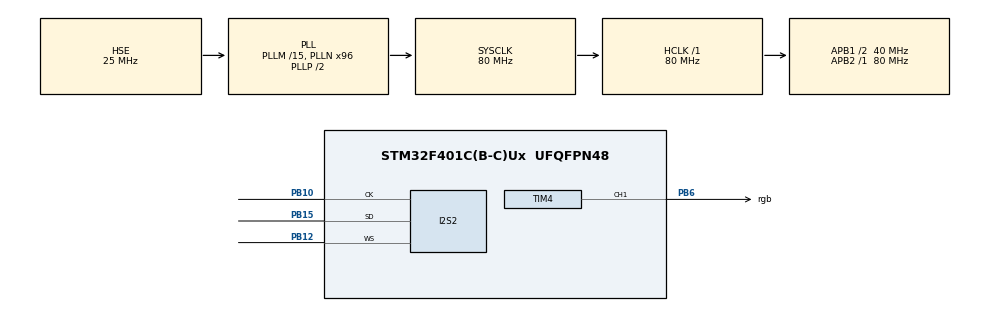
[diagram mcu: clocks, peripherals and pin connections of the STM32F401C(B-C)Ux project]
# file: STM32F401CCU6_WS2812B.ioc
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Dma.Request0=TIM4_CH1
Dma.Request1=SPI2_RX
Dma.SPI2_RX.1.Direction=DMA_PERIPH_TO_MEMORY
Dma.SPI2_RX.1.FIFOMode=DMA_FIFOMODE_DISABLE
Dma.SPI2_RX.1.Instance=DMA1_Stream3
Dma.SPI2_RX.1.MemDataAlignment=DMA_MDATAALIGN_HALFWORD
Dma.SPI2_RX.1.MemInc=DMA_MINC_ENABLE
Dma.SPI2_RX.1.Mode=DMA_CIRCULAR
Dma.SPI2_RX.1.PeriphDataAlignment=DMA_PDATAALIGN_HALFWORD
Dma.SPI2_RX.1.PeriphInc=DMA_PINC_DISABLE
Dma.SPI2_RX.1.Priority=DMA_PRIORITY_LOW
Dma.TIM4_CH1.0.Direction=DMA_MEMORY_TO_PERIPH
Dma.TIM4_CH1.0.FIFOMode=DMA_FIFOMODE_DISABLE
Dma.TIM4_CH1.0.Instance=DMA1_Stream0
Dma.TIM4_CH1.0.MemDataAlignment=DMA_MDATAALIGN_HALFWORD
Dma.TIM4_CH1.0.MemInc=DMA_MINC_ENABLE
Dma.TIM4_CH1.0.Mode=DMA_NORMAL
Dma.TIM4_CH1.0.PeriphDataAlignment=DMA_PDATAALIGN_HALFWORD
Dma.TIM4_CH1.0.PeriphInc=DMA_PINC_DISABLE
Dma.TIM4_CH1.0.Priority=DMA_PRIORITY_LOW
I2S2.AudioFreq=I2S_AUDIOFREQ_16K
I2S2.DataFormat=I2S_DATAFORMAT_16B
I2S2.ErrorAudioFreq=-0.16 %
I2S2.FullDuplexMode=I2S_FULLDUPLEXMODE_DISABLE
I2S2.Instance=SPI$Index
I2S2.Mode=I2S_MODE_MASTER_RX
I2S2.RealAudioFreq=15.974 KHz
I2S2.VirtualMode=I2S_MODE_MASTER
Mcu.Family=STM32F4
Mcu.Name=STM32F401C(B-C)Ux
Mcu.Package=UFQFPN48
NVIC.DMA1_Stream0_IRQn=true\:0\:0\:false\:false\:true\:false\:true\:true
NVIC.DMA1_Stream3_IRQn=true\:0\:0\:false\:false\:true\:false\:true\:true
NVIC.PriorityGroup=NVIC_PRIORITYGROUP_4
PB10.Mode=Half_Duplex_Master
PB10.Signal=I2S2_CK
PB12.Mode=Half_Duplex_Master
PB12.Signal=I2S2_WS
PB15.Mode=Half_Duplex_Master
PB15.Signal=I2S2_SD
PB6.GPIO_Label=rgb
PB6.Signal=S_TIM4_CH1
PC14-OSC32_IN.Mode=LSE-External-Oscillator
PC14-OSC32_IN.Signal=RCC_OSC32_IN
PC15-OSC32_OUT.Mode=LSE-External-Oscillator
PC15-OSC32_OUT.Signal=RCC_OSC32_OUT
PH0\ -\ OSC_IN.Mode=HSE-External-Oscillator
PH0\ -\ OSC_IN.Signal=RCC_OSC_IN
PH1\ -\ OSC_OUT.Mode=HSE-External-Oscillator
PH1\ -\ OSC_OUT.Signal=RCC_OSC_OUT
ProjectManager.HeapSize=0x200
ProjectManager.StackSize=0x400
ProjectManager.TargetToolchain=STM32CubeIDE
RCC.48MHZClocksFreq_Value=40000000
RCC.AHBFreq_Value=80000000
RCC.APB1CLKDivider=RCC_HCLK_DIV2
RCC.APB1Freq_Value=40000000
RCC.APB1TimFreq_Value=80000000
RCC.APB2Freq_Value=80000000
RCC.APB2TimFreq_Value=80000000
RCC.CortexFreq_Value=80000000
RCC.HCLKFreq_Value=80000000
RCC.HSE_VALUE=25000000
RCC.HSI_VALUE=16000000
RCC.PLLM=15
RCC.PLLN=96
RCC.PLLSourceVirtual=RCC_PLLSOURCE_HSE
RCC.SYSCLKFreq_VALUE=80000000
RCC.SYSCLKSource=RCC_SYSCLKSOURCE_PLLCLK
RCC.VCOOutputFreq_Value=160000000
SH.S_TIM4_CH1.0=TIM4_CH1,PWM Generation1 CH1
TIM4.Channel-PWM\ Generation1\ CH1=TIM_CHANNEL_1
TIM4.Period=100-1
VP_TIM4_VS_ClockSourceINT.Mode=Internal
board=custom

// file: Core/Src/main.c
/* USER CODE BEGIN Header */
/**
  ******************************************************************************
  * @file           : main.c
  * @brief          : Programma per VU Meter con striscia LED WS2812
  * @author         : Matteo Villani
  * @date           : 20 Novembre 2025
  * @version        : 1.0
  ******************************************************************************
  * @attention
  *
  * Progetto personale sviluppato su STM32.
  *
  ******************************************************************************
  */
/* USER CODE END Header */
#include "main.h"

/* USER CODE BEGIN Includes */
#include "math.h"
#include <stdint.h>
#include <stdlib.h>
/* USER CODE END Includes */

I2S_HandleTypeDef hi2s2;
DMA_HandleTypeDef hdma_spi2_rx;

TIM_HandleTypeDef htim4;
DMA_HandleTypeDef hdma_tim4_ch1;

/* USER CODE BEGIN PV */
#define MAX_LED 133
// Global array for noise thresholds
uint16_t vu_thresholds[MAX_LED];
/* USER CODE END PV */

void SystemClock_Config(void);
static void MX_GPIO_Init(void);
static void MX_DMA_Init(void);
static void MX_TIM4_Init(void);
static void MX_I2S2_Init(void);
/* USER CODE BEGIN PFP */
// Helper function that processes audio
void process_audio_chunk(int16_t* buffer_half, uint16_t size);
// Helper function that draws the LEDs
void update_vu_meter(int16_t peak);

void generate_vu_thresholds(uint16_t min_val, uint16_t max_val);
/* USER CODE END PFP */

/* USER CODE BEGIN 0 */

void generate_vu_thresholds(uint16_t min_val, uint16_t max_val) {
    // Formula for geometric progression:
    // Value = Min * (Factor ^ Index)
    // Where Factor = (Max / Min)^(1 / (N - 1))

    double factor = pow((double)max_val / min_val, 1.0 / (MAX_LED - 1));
    double current_val = min_val;

    for (int i = 0; i < MAX_LED; i++) {
        vu_thresholds[i] = (uint16_t)current_val;
        current_val *= factor;
    }
}

// Buffer for I2S DMA
// Array of 256 samples filled by DMA in continuous mode
#define I2S_BUFFER_SIZE 256
int16_t i2s_dma_buffer[I2S_BUFFER_SIZE]; // 16-bit Data

// The "volume variable"
// Stores the absolute maximum value (volume peak) found
// in the last processed audio data block. This is the value the update_vu_meter function uses to plot the LEDs.
volatile int16_t audio_peak_level = 0;

uint8_t LED_Data[MAX_LED][4];

int datasentflag=0;

void HAL_TIM_PWM_PulseFinishedCallback(TIM_HandleTypeDef *htim)
{
	HAL_TIM_PWM_Stop_DMA(&htim4, TIM_CHANNEL_1);
	datasentflag=1;
}

void Set_LED (int LEDnum, int Red, int Green, int Blue)
{
	LED_Data[LEDnum][0] = LEDnum;
	LED_Data[LEDnum][1] = Green;
	LED_Data[LEDnum][2] = Red;
	LED_Data[LEDnum][3] = Blue;
}

uint16_t pwmData[(24*MAX_LED)+50];

void WS2812_Send (void)
{
	uint32_t indx=0;
	uint32_t color;

	for (int i= 0; i<MAX_LED; i++)
	{
		color = ((LED_Data[i][1]<<16) | (LED_Data[i][2]<<8) | (LED_Data[i][3]));

		for (int i=23; i>=0; i--)
		{
			if (color&(1<<i))
			{
				pwmData[indx] = 67;  // 2/3 of 100
			}

			else pwmData[indx] = 33;  // 1/3 of 100

			indx++;
		}

	}

	for (int i=0; i<50; i++)
	{
		pwmData[indx] = 0;
		indx++;
	}

	HAL_TIM_PWM_Start_DMA(&htim4, TIM_CHANNEL_1, (uint32_t *)pwmData, indx);
	while (!datasentflag){};
	datasentflag = 0;
}

void Reset_LED (void)
{
	for (int i=0; i<MAX_LED; i++)
	{
		LED_Data[i][0] = i;
		LED_Data[i][1] = 0;
		LED_Data[i][2] = 0;
		LED_Data[i][3] = 0;
	}
}

/**
 * @brief Draws the VU meter on the LED strip
 * @param peak The read peak level (from 0 to 32767)
 */
void update_vu_meter(int16_t peak)
{
    uint8_t leds_to_light = 0;

    // 1. Find how many LEDs to light up by comparing the peak with the calculated array
    for (int i = 0; i < MAX_LED; i++) {
        if (peak > vu_thresholds[i]) {
            leds_to_light = i + 1;
        } else {
            // Optimization: if the peak is lower than this threshold,
            // it will also be lower than the subsequent ones (which are increasing).
            break;
        }
    }

    // 2. Draw colors based on position (Percentages)
    // Green: first 40% | Yellow: from 40% to 70% | Red: last 30%
    int green_zone = MAX_LED * 0.40;
    int yellow_zone = MAX_LED * 0.70;

    for (int i = 0; i < MAX_LED; i++) {
        if (i < leds_to_light) {
            if (i < green_zone) {
                Set_LED(i, 0, 150, 0);   // Green (Medium brightness)
            } else if (i < yellow_zone) {
                Set_LED(i, 200, 60, 0); // Yellow/Orange
            } else {
                Set_LED(i, 255, 0, 0);   // Red (Peak)
            }
        } else {
            // Turn off LEDs above the volume level
            Set_LED(i, 0, 0, 0);
        }
    }

    WS2812_Send();
}

/* USER CODE END 0 */

int main(void)
{

  /* MCU Configuration--------------------------------------------------------*/

  /* Reset of all peripherals, Initializes the Flash interface and the Systick. */
  HAL_Init();

  /* Configure the system clock */
  SystemClock_Config();

  /* Initialize all configured peripherals */
  MX_GPIO_Init();
  MX_DMA_Init();
  MX_TIM4_Init();
  MX_I2S2_Init();
  /* USER CODE BEGIN 2 */
  // --- START LISTENING ---
  // Starts DMA in circular mode.
  // From this moment, 'i2s_dma_buffer' will fill automatically.
  if (HAL_I2S_Receive_DMA(&hi2s2, (uint16_t*)i2s_dma_buffer, I2S_BUFFER_SIZE) != HAL_OK) {
      Error_Handler(); // Error
  }

  // Variable for non-blocking LED update
  uint32_t last_vu_update = 0;
  Reset_LED();
  WS2812_Send();
  HAL_Delay(50);
  // CALCULATE LOGARITHMIC THRESHOLDS
  // This fills the vu_thresholds array with 133 perfect values.
  generate_vu_thresholds(70, 700);
  /* USER CODE END 2 */

  /* Infinite loop */
  while (1)
  {

    /* USER CODE BEGIN 3 */
	      uint32_t current_time = HAL_GetTick();
	      if (current_time - last_vu_update > 20)
	      {
	          last_vu_update = current_time;

	          // Read the peak (calculated by DMA) and draw the LEDs
	          update_vu_meter(audio_peak_level);

	          // Reset the peak for the next "frame"
	          // This gives a reactive "peak meter" effect
	          audio_peak_level = 0;

	      }
  }
  /* USER CODE END 3 */
}

void SystemClock_Config(void)
{
  RCC_OscInitTypeDef RCC_OscInitStruct = {0};
  RCC_ClkInitTypeDef RCC_ClkInitStruct = {0};

  /** Configure the main internal regulator output voltage
  */
  __HAL_RCC_PWR_CLK_ENABLE();
  __HAL_PWR_VOLTAGESCALING_CONFIG(PWR_REGULATOR_VOLTAGE_SCALE2);

  /** Initializes the RCC Oscillators according to the specified parameters
  * in the RCC_OscInitTypeDef structure.
  */
  RCC_OscInitStruct.OscillatorType = RCC_OSCILLATORTYPE_HSE;
  RCC_OscInitStruct.HSEState = RCC_HSE_ON;
  RCC_OscInitStruct.PLL.PLLState = RCC_PLL_ON;
  RCC_OscInitStruct.PLL.PLLSource = RCC_PLLSOURCE_HSE;
  RCC_OscInitStruct.PLL.PLLM = 15;
  RCC_OscInitStruct.PLL.PLLN = 96;
  RCC_OscInitStruct.PLL.PLLP = RCC_PLLP_DIV2;
  RCC_OscInitStruct.PLL.PLLQ = 4;
  if (HAL_RCC_OscConfig(&RCC_OscInitStruct) != HAL_OK)
  {
    Error_Handler();
  }

  /** Initializes the CPU, AHB and APB buses clocks
  */
  RCC_ClkInitStruct.ClockType = RCC_CLOCKTYPE_HCLK|RCC_CLOCKTYPE_SYSCLK
                              |RCC_CLOCKTYPE_PCLK1|RCC_CLOCKTYPE_PCLK2;
  RCC_ClkInitStruct.SYSCLKSource = RCC_SYSCLKSOURCE_PLLCLK;
  RCC_ClkInitStruct.AHBCLKDivider = RCC_SYSCLK_DIV1;
  RCC_ClkInitStruct.APB1CLKDivider = RCC_HCLK_DIV2;
  RCC_ClkInitStruct.APB2CLKDivider = RCC_HCLK_DIV1;

  if (HAL_RCC_ClockConfig(&RCC_ClkInitStruct, FLASH_LATENCY_2) != HAL_OK)
  {
    Error_Handler();
  }
}

static void MX_I2S2_Init(void)
{

  hi2s2.Instance = SPI2;
  hi2s2.Init.Mode = I2S_MODE_MASTER_RX;
  hi2s2.Init.Standard = I2S_STANDARD_PHILIPS;
  hi2s2.Init.DataFormat = I2S_DATAFORMAT_16B;
  hi2s2.Init.MCLKOutput = I2S_MCLKOUTPUT_DISABLE;
  hi2s2.Init.AudioFreq = I2S_AUDIOFREQ_16K;
  hi2s2.Init.CPOL = I2S_CPOL_LOW;
  hi2s2.Init.ClockSource = I2S_CLOCK_PLL;
  hi2s2.Init.FullDuplexMode = I2S_FULLDUPLEXMODE_DISABLE;
  if (HAL_I2S_Init(&hi2s2) != HAL_OK)
  {
    Error_Handler();
  }

}

static void MX_TIM4_Init(void)
{

  TIM_ClockConfigTypeDef sClockSourceConfig = {0};
  TIM_MasterConfigTypeDef sMasterConfig = {0};
  TIM_OC_InitTypeDef sConfigOC = {0};

  htim4.Instance = TIM4;
  htim4.Init.Prescaler = 0;
  htim4.Init.CounterMode = TIM_COUNTERMODE_UP;
  htim4.Init.Period = 100-1;
  htim4.Init.ClockDivision = TIM_CLOCKDIVISION_DIV1;
  htim4.Init.AutoReloadPreload = TIM_AUTORELOAD_PRELOAD_DISABLE;
  if (HAL_TIM_Base_Init(&htim4) != HAL_OK)
  {
    Error_Handler();
  }
  sClockSourceConfig.ClockSource = TIM_CLOCKSOURCE_INTERNAL;
  if (HAL_TIM_ConfigClockSource(&htim4, &sClockSourceConfig) != HAL_OK)
  {
    Error_Handler();
  }
  if (HAL_TIM_PWM_Init(&htim4) != HAL_OK)
  {
    Error_Handler();
  }
  sMasterConfig.MasterOutputTrigger = TIM_TRGO_RESET;
  sMasterConfig.MasterSlaveMode = TIM_MASTERSLAVEMODE_DISABLE;
  if (HAL_TIMEx_MasterConfigSynchronization(&htim4, &sMasterConfig) != HAL_OK)
  {
    Error_Handler();
  }
  sConfigOC.OCMode = TIM_OCMODE_PWM1;
  sConfigOC.Pulse = 0;
  sConfigOC.OCPolarity = TIM_OCPOLARITY_HIGH;
  sConfigOC.OCFastMode = TIM_OCFAST_DISABLE;
  if (HAL_TIM_PWM_ConfigChannel(&htim4, &sConfigOC, TIM_CHANNEL_1) != HAL_OK)
  {
    Error_Handler();
  }
  HAL_TIM_MspPostInit(&htim4);

}

static void MX_DMA_Init(void)
{

  /* DMA controller clock enable */
  __HAL_RCC_DMA1_CLK_ENABLE();

  /* DMA interrupt init */
  /* DMA1_Stream0_IRQn interrupt configuration */
  HAL_NVIC_SetPriority(DMA1_Stream0_IRQn, 0, 0);
  HAL_NVIC_EnableIRQ(DMA1_Stream0_IRQn);
  /* DMA1_Stream3_IRQn interrupt configuration */
  HAL_NVIC_SetPriority(DMA1_Stream3_IRQn, 0, 0);
  HAL_NVIC_EnableIRQ(DMA1_Stream3_IRQn);

}

static void MX_GPIO_Init(void)
{

  /* GPIO Ports Clock Enable */
  __HAL_RCC_GPIOC_CLK_ENABLE();
  __HAL_RCC_GPIOH_CLK_ENABLE();
  __HAL_RCC_GPIOB_CLK_ENABLE();

}

/* USER CODE BEGIN 4 */
/**
 * @brief This function is called by DMA
 * when the FIRST HALF of the buffer is full.
 */
void HAL_I2S_RxHalfCpltCallback(I2S_HandleTypeDef *hi2s)
{
  // Process the first half of the buffer (from index 0)
  process_audio_chunk(&i2s_dma_buffer[0], I2S_BUFFER_SIZE / 2);
}

/**
 * @brief This function is called by DMA
 * when the buffer is COMPLETELY full.
 */
void HAL_I2S_RxCpltCallback(I2S_HandleTypeDef *hi2s)
{
  // Process the second half of the buffer
  process_audio_chunk(&i2s_dma_buffer[I2S_BUFFER_SIZE / 2], I2S_BUFFER_SIZE / 2);
}

/**
 * @brief Analyzes an audio block and finds the volume peak.
 */
void process_audio_chunk(int16_t* buffer_half, uint16_t size)
{
    int16_t max_val = 0;

    for (uint16_t i = 0; i < size; i += 2) // NOTE: i += 2
    {
        // 1. Get the audio sample
        // I2S data is signed (ranges from -32768 to +32767)
        int16_t sample = buffer_half[i];

        // 2. Rectify it (we only care about volume, not phase)
        int16_t abs_sample = abs(sample);

        // 3. Is it the highest we've seen in this block?
        if (abs_sample > max_val) {
            max_val = abs_sample;
        }

        // NOTE: Why "i += 2"?
        // The INMP441 is MONO but I2S is a STEREO standard.
        // The microphone writes only to one channel (Left OR Right).
        // The other channel will be all zeros.
        // By reading only EVEN (or only ODD) samples,
        // we take only the correct channel and avoid zeros.
    }

    // 4. Update the global peak variable
    // If the peak of this block is higher than the one
    // we have stored, update it.
    if (max_val > audio_peak_level) {
        audio_peak_level = max_val;
    }
}
/* USER CODE END 4 */

void Error_Handler(void)
{
  __disable_irq();
  while (1)
  {
  }
}
